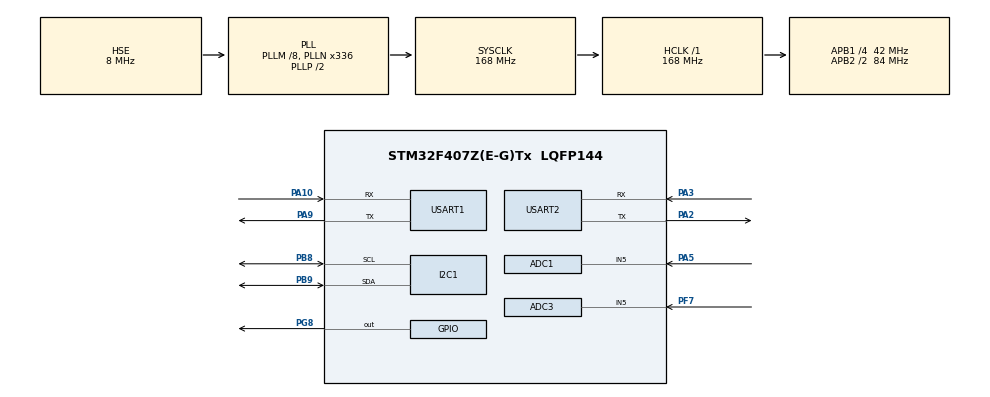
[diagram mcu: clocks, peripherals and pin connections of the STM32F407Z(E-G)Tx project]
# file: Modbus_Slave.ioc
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ADC1.Channel-2\#ChannelRegularConversion=ADC_CHANNEL_5
ADC1.Channel-3\#ChannelRegularConversion=ADC_CHANNEL_5
ADC1.ContinuousConvMode=ENABLE
ADC1.DiscontinuousConvMode=DISABLE
ADC1.NbrOfConversion=2
ADC1.NbrOfConversionFlag=1
ADC1.Rank-2\#ChannelRegularConversion=1
ADC1.Rank-3\#ChannelRegularConversion=2
ADC1.SamplingTime-2\#ChannelRegularConversion=ADC_SAMPLETIME_3CYCLES
ADC1.SamplingTime-3\#ChannelRegularConversion=ADC_SAMPLETIME_3CYCLES
ADC1.master=1
ADC3.Channel-0\#ChannelRegularConversion=ADC_CHANNEL_5
ADC3.ContinuousConvMode=ENABLE
ADC3.NbrOfConversionFlag=1
ADC3.Rank-0\#ChannelRegularConversion=1
ADC3.SamplingTime-0\#ChannelRegularConversion=ADC_SAMPLETIME_480CYCLES
Dma.ADC1.0.Direction=DMA_PERIPH_TO_MEMORY
Dma.ADC1.0.FIFOMode=DMA_FIFOMODE_DISABLE
Dma.ADC1.0.Instance=DMA2_Stream0
Dma.ADC1.0.MemDataAlignment=DMA_MDATAALIGN_WORD
Dma.ADC1.0.MemInc=DMA_MINC_ENABLE
Dma.ADC1.0.Mode=DMA_CIRCULAR
Dma.ADC1.0.PeriphDataAlignment=DMA_PDATAALIGN_WORD
Dma.ADC1.0.PeriphInc=DMA_PINC_DISABLE
Dma.ADC1.0.Priority=DMA_PRIORITY_LOW
Dma.Request0=ADC1
FREERTOS.Tasks01=defaultTask,24,128,StartDefaultTask,Default,NULL,Dynamic,NULL,NULL
I2C1.I2C_Mode=I2C_Fast
Mcu.Family=STM32F4
Mcu.Name=STM32F407Z(E-G)Tx
Mcu.Package=LQFP144
NVIC.DMA2_Stream0_IRQn=true\:5\:0\:false\:false\:true\:true\:false\:true\:true
NVIC.PriorityGroup=NVIC_PRIORITYGROUP_4
NVIC.TIM6_DAC_IRQn=true\:15\:0\:false\:false\:true\:false\:false\:true\:true
NVIC.TimeBase=TIM6_DAC_IRQn
NVIC.TimeBaseIP=TIM6
NVIC.USART1_IRQn=true\:5\:0\:false\:false\:true\:true\:true\:true\:true
NVIC.USART2_IRQn=true\:5\:0\:false\:false\:true\:true\:true\:true\:true
PA10.Mode=Asynchronous
PA10.Signal=USART1_RX
PA2.Mode=Asynchronous
PA2.Signal=USART2_TX
PA3.Mode=Asynchronous
PA3.Signal=USART2_RX
PA5.Signal=ADCx_IN5
PA9.Mode=Asynchronous
PA9.Signal=USART1_TX
PB8.Mode=I2C
PB8.Signal=I2C1_SCL
PB9.Mode=I2C
PB9.Signal=I2C1_SDA
PF7.Mode=IN5
PF7.Signal=ADC3_IN5
PG8.Signal=GPIO_Output
PH0-OSC_IN.Mode=HSE-External-Oscillator
PH0-OSC_IN.Signal=RCC_OSC_IN
PH1-OSC_OUT.Mode=HSE-External-Oscillator
PH1-OSC_OUT.Signal=RCC_OSC_OUT
ProjectManager.HeapSize=0x200
ProjectManager.StackSize=0x400
ProjectManager.TargetToolchain=MDK-ARM V5.32
RCC.48MHZClocksFreq_Value=84000000
RCC.AHBFreq_Value=168000000
RCC.APB1CLKDivider=RCC_HCLK_DIV4
RCC.APB1Freq_Value=42000000
RCC.APB1TimFreq_Value=84000000
RCC.APB2CLKDivider=RCC_HCLK_DIV2
RCC.APB2Freq_Value=84000000
RCC.APB2TimFreq_Value=168000000
RCC.CortexFreq_Value=168000000
RCC.HCLKFreq_Value=168000000
RCC.HSE_VALUE=8000000
RCC.HSI_VALUE=16000000
RCC.LSE_VALUE=32768
RCC.PLLM=8
RCC.PLLN=336
RCC.PLLSourceVirtual=RCC_PLLSOURCE_HSE
RCC.SYSCLKFreq_VALUE=168000000
RCC.SYSCLKSource=RCC_SYSCLKSOURCE_PLLCLK
RCC.VCOOutputFreq_Value=336000000
SH.ADCx_IN5.0=ADC1_IN5,IN5
USART1.VirtualMode=VM_ASYNC
USART2.VirtualMode=VM_ASYNC
VP_ADC1_TempSens_Input.Mode=IN-TempSens
VP_FREERTOS_VS_CMSIS_V2.Mode=CMSIS_V2
VP_SYS_VS_tim6.Mode=TIM6
board=custom

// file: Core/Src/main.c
/* USER CODE BEGIN Header */
/**
  ******************************************************************************
  * @file           : main.c
  * @brief          : Main program body
  ******************************************************************************
  * @attention
  *
  * Copyright (c) 2026 STMicroelectronics.
  * All rights reserved.
  *
  * This software is licensed under terms that can be found in the LICENSE file
  * in the root directory of this software component.
  * If no LICENSE file comes with this software, it is provided AS-IS.
  *
  ******************************************************************************
  */
/* USER CODE END Header */
#include "main.h"
#include "cmsis_os.h"

/* USER CODE BEGIN Includes */
#include "modbus_slave.h"
#include "lcd.h"
#include <stdio.h>
#include "log.h"
#include "../BSP/SDIO/sdio_sdcard.h"
#include "../../Middlewares/FATFS/ff.h"
/* USER CODE END Includes */

/* USER CODE BEGIN PTD */
#define MED_WINDOW  5   /* 中值滤波窗口（奇数） */
#define MA_WINDOW   8   /* 滑动平均窗口 */

typedef struct {
    uint32_t med_buf[MED_WINDOW];   /* 中值滤波缓冲区 */
    uint32_t ma_buf[MA_WINDOW];     /* 滑动平均缓冲区 */
    uint8_t med_idx;
    uint8_t ma_idx;
} FilterChain;                      /* 中值+滑动平均 两级滤波器 */
/* USER CODE END PTD */

ADC_HandleTypeDef hadc1;
ADC_HandleTypeDef hadc3;
DMA_HandleTypeDef hdma_adc1;

I2C_HandleTypeDef hi2c1;

UART_HandleTypeDef huart1;
UART_HandleTypeDef huart2;

/* Definitions for defaultTask */
osThreadId_t defaultTaskHandle;
const osThreadAttr_t defaultTask_attributes = {
  .name = "defaultTask",
  .stack_size = 128 * 4,
  .priority = (osPriority_t) osPriorityNormal,
};
/* USER CODE BEGIN PV */
osThreadId_t logTaskHandle;
const osThreadAttr_t logTask_attributes = {
  .name = "logTask",
  .stack_size = 256 * 4,
  .priority = (osPriority_t) osPriorityLow,
};
uint32_t result[100];
osMutexId_t mbRegsMutex;
FilterChain filt_vol, filt_temp, filt_light;   /* 三路滤波器 */
osThreadId_t collectTaskHandle;
const osThreadAttr_t collectTask_attributes = {
  .name = "collectTask",
  .stack_size = 256 * 4,
  .priority = (osPriority_t) osPriorityNormal,
};
osThreadId_t displayTaskHandle;
const osThreadAttr_t displayTask_attributes = {
  .name = "displayTask",
  .stack_size = 256 * 4,
  .priority = (osPriority_t) osPriorityLow,
};
osThreadId_t modbusTaskHandle;
const osThreadAttr_t modbusTask_attributes = {
  .name = "modbusTask",
  .stack_size = 256 * 4,
  .priority = (osPriority_t) osPriorityAboveNormal,
};
osThreadId_t watchdogTaskHandle;
const osThreadAttr_t watchdogTask_attributes = {
  .name = "watchdogTask",
  .stack_size = 128 * 4,
  .priority = (osPriority_t) osPriorityLow,
};
/* USER CODE END PV */

void SystemClock_Config(void);
static void MX_GPIO_Init(void);
static void MX_DMA_Init(void);
static void MX_USART1_UART_Init(void);
static void MX_ADC1_Init(void);
static void MX_ADC3_Init(void);
static void MX_USART2_UART_Init(void);
static void MX_I2C1_Init(void);
void StartDefaultTask(void *argument);

/* USER CODE BEGIN PFP */

void LogTask(void *argument);
void CollectTask(void *argument);
void DisplayTask(void *argument);
void ModbusTask(void *argument);
void WatchdogTask(void *argument);
/* USER CODE END PFP */

/* USER CODE BEGIN 0 */
/* 中值滤波：冒泡排序取中间值，窗口奇数（防 ADC 偶发跳变） */
static uint32_t Median(uint32_t *buf)
{
    uint32_t tmp[MED_WINDOW];
    uint8_t i, j;
    for (i = 0; i < MED_WINDOW; i++) tmp[i] = buf[i];
    for (i = 0; i < MED_WINDOW - 1; i++)
        for (j = 0; j < MED_WINDOW - 1 - i; j++)
            if (tmp[j] > tmp[j + 1]) {
                uint32_t t = tmp[j]; tmp[j] = tmp[j + 1]; tmp[j + 1] = t;
            }
    return tmp[MED_WINDOW / 2];
}

/* 两级滤波：中值去尖峰 -> 滑动平均平滑 */
uint32_t Filter_Process(FilterChain *f, uint32_t raw)
{
    uint32_t sum = 0;
    uint8_t i;
    f->med_buf[f->med_idx] = raw;
    f->med_idx = (f->med_idx + 1) % MED_WINDOW;
    f->ma_buf[f->ma_idx] = Median(f->med_buf);
    f->ma_idx = (f->ma_idx + 1) % MA_WINDOW;
    for (i = 0; i < MA_WINDOW; i++) sum += f->ma_buf[i];
    return sum / MA_WINDOW;
}

/* 滤波初始化：用初值填满窗口，避免平滑从 0 开始爬升 */
void Filter_Init(FilterChain *f, uint32_t v)
{
    uint8_t i;
    for (i = 0; i < MED_WINDOW; i++) f->med_buf[i] = v;
    for (i = 0; i < MA_WINDOW; i++) f->ma_buf[i] = v;
    f->med_idx = 0;
    f->ma_idx = 0;
}

/* 初始化看门狗 IWDG：直接操作寄存器（不启用 HAL 模块），
   KR=0x5555 解锁写保护 -> 配置PR/重载RLR -> KR=0xCCCC 使能看门狗 -> KR=0xAAAA 喂狗 */
void IWDG_Init(void)
{
    RCC->CSR |= RCC_CSR_LSION;                  /* 使能 LSI(约32kHz) */
    while ((RCC->CSR & RCC_CSR_LSIRDY) == 0) {} /* 等 LSI 就绪 */
    IWDG->KR  = 0x5555;                         /* 解锁写保护 */
    IWDG->PR  = 0x04;                           /* 64分频 -> 500Hz */
    IWDG->RLR = 1250;                           /* 重载 -> 约2.5s超时 */
    IWDG->KR  = 0xCCCC;                         /* 启动看门狗 */
    IWDG->KR  = 0xAAAA;                         /* 先喂一次 */
}

void IWDG_Feed(void)
{
    IWDG->KR = 0xAAAA;   /* 喂狗：写0xAAAA刷新计数器 */
}
/* USER CODE END 0 */

int main(void)
{

  /* MCU Configuration--------------------------------------------------------*/

  /* Reset of all peripherals, Initializes the Flash interface and the Systick. */
  HAL_Init();

  /* Configure the system clock */
  SystemClock_Config();

  /* Initialize all configured peripherals */
  MX_GPIO_Init();
  MX_DMA_Init();
  MX_USART1_UART_Init();
  MX_ADC1_Init();
  MX_ADC3_Init();
  MX_USART2_UART_Init();
  MX_I2C1_Init();
  /* USER CODE BEGIN 2 */
  Modbus_Init();
  HAL_ADC_Start_DMA(&hadc1, (uint32_t*)&result, 100);
  lcd_init();
  lcd_clear(WHITE);
  LOG_INFO("System started\n");
  LOG_DEBUG("Start collecting data\n");

  /* SD card init */
  if (sd_init() == 0)
  {
    LOG_INFO("SD Card OK: %d MB\n", (uint32_t)SD_TOTAL_SIZE_MB(&g_sdcard_handler));
  }
  else
  {
    LOG_ERROR("SD Card Error!\n");
  }

  /* Init log-to-SD: mount SD + open log.txt, after this every log is persisted */
  if (log_fs_init() == 0)
  {
    LOG_INFO("Log to SD card ready\n");
  }
  else
  {
    LOG_ERROR("Log FS init fail\n");
  }

  /* LED test: configure DS0 (PF9) as push-pull output */
  GPIO_InitTypeDef led = {0};
  led.Pin   = GPIO_PIN_9;
  led.Mode  = GPIO_MODE_OUTPUT_PP;
  led.Pull  = GPIO_NOPULL;
  led.Speed = GPIO_SPEED_FREQ_LOW;
  HAL_GPIO_Init(GPIOF, &led);
  /* IWDG_Init();   启动看门狗 IWDG */
  /* USER CODE END 2 */

  /* Init scheduler */
  osKernelInitialize();

  /* USER CODE BEGIN RTOS_MUTEX */
  mbRegsMutex = osMutexNew(NULL);
  /* USER CODE END RTOS_MUTEX */

  /* USER CODE BEGIN RTOS_QUEUES */
  /* add queues, ... */
  log_init();
  /* USER CODE END RTOS_QUEUES */

  /* Create the thread(s) */
  /* creation of defaultTask */
  defaultTaskHandle = osThreadNew(StartDefaultTask, NULL, &defaultTask_attributes);

  /* USER CODE BEGIN RTOS_THREADS */
  collectTaskHandle = osThreadNew(CollectTask, NULL, &collectTask_attributes);
  displayTaskHandle = osThreadNew(DisplayTask, NULL, &displayTask_attributes);
  modbusTaskHandle = osThreadNew(ModbusTask, NULL, &modbusTask_attributes);
  watchdogTaskHandle = osThreadNew(WatchdogTask, NULL, &watchdogTask_attributes);
  logTaskHandle = osThreadNew(LogTask, NULL, &logTask_attributes);
  /* add threads, ... */
  /* USER CODE END RTOS_THREADS */

  /* Start scheduler */
  osKernelStart();

  /* We should never get here as control is now taken by the scheduler */

  /* Infinite loop */
  while (1)
  {

  }
}

void SystemClock_Config(void)
{
  RCC_OscInitTypeDef RCC_OscInitStruct = {0};
  RCC_ClkInitTypeDef RCC_ClkInitStruct = {0};

  /** Configure the main internal regulator output voltage
  */
  __HAL_RCC_PWR_CLK_ENABLE();
  __HAL_PWR_VOLTAGESCALING_CONFIG(PWR_REGULATOR_VOLTAGE_SCALE1);

  /** Initializes the RCC Oscillators according to the specified parameters
  * in the RCC_OscInitTypeDef structure.
  */
  RCC_OscInitStruct.OscillatorType = RCC_OSCILLATORTYPE_HSE;
  RCC_OscInitStruct.HSEState = RCC_HSE_ON;
  RCC_OscInitStruct.PLL.PLLState = RCC_PLL_ON;
  RCC_OscInitStruct.PLL.PLLSource = RCC_PLLSOURCE_HSE;
  RCC_OscInitStruct.PLL.PLLM = 8;
  RCC_OscInitStruct.PLL.PLLN = 336;
  RCC_OscInitStruct.PLL.PLLP = RCC_PLLP_DIV2;
  RCC_OscInitStruct.PLL.PLLQ = 4;
  if (HAL_RCC_OscConfig(&RCC_OscInitStruct) != HAL_OK)
  {
    Error_Handler();
  }

  /** Initializes the CPU, AHB and APB buses clocks
  */
  RCC_ClkInitStruct.ClockType = RCC_CLOCKTYPE_HCLK|RCC_CLOCKTYPE_SYSCLK
                              |RCC_CLOCKTYPE_PCLK1|RCC_CLOCKTYPE_PCLK2;
  RCC_ClkInitStruct.SYSCLKSource = RCC_SYSCLKSOURCE_PLLCLK;
  RCC_ClkInitStruct.AHBCLKDivider = RCC_SYSCLK_DIV1;
  RCC_ClkInitStruct.APB1CLKDivider = RCC_HCLK_DIV4;
  RCC_ClkInitStruct.APB2CLKDivider = RCC_HCLK_DIV2;

  if (HAL_RCC_ClockConfig(&RCC_ClkInitStruct, FLASH_LATENCY_5) != HAL_OK)
  {
    Error_Handler();
  }
}

static void MX_ADC1_Init(void)
{

  ADC_ChannelConfTypeDef sConfig = {0};

  /** Configure the global features of the ADC (Clock, Resolution, Data Alignment and number of conversion)
  */
  hadc1.Instance = ADC1;
  hadc1.Init.ClockPrescaler = ADC_CLOCK_SYNC_PCLK_DIV4;
  hadc1.Init.Resolution = ADC_RESOLUTION_12B;
  hadc1.Init.ScanConvMode = ENABLE;
  hadc1.Init.ContinuousConvMode = ENABLE;
  hadc1.Init.DiscontinuousConvMode = DISABLE;
  hadc1.Init.ExternalTrigConvEdge = ADC_EXTERNALTRIGCONVEDGE_NONE;
  hadc1.Init.ExternalTrigConv = ADC_SOFTWARE_START;
  hadc1.Init.DataAlign = ADC_DATAALIGN_RIGHT;
  hadc1.Init.NbrOfConversion = 2;
  hadc1.Init.DMAContinuousRequests = ENABLE;
  hadc1.Init.EOCSelection = ADC_EOC_SEQ_CONV;
  if (HAL_ADC_Init(&hadc1) != HAL_OK)
  {
    Error_Handler();
  }

  /** Configure for the selected ADC regular channel its corresponding rank in the sequencer and its sample time.
  */
  sConfig.Channel = ADC_CHANNEL_5;
  sConfig.Rank = 1;
  sConfig.SamplingTime = ADC_SAMPLETIME_480CYCLES;
  if (HAL_ADC_ConfigChannel(&hadc1, &sConfig) != HAL_OK)
  {
    Error_Handler();
  }

  /** Configure for the selected ADC regular channel its corresponding rank in the sequencer and its sample time.
  */
  sConfig.Channel = ADC_CHANNEL_TEMPSENSOR;
  sConfig.Rank = 2;
  if (HAL_ADC_ConfigChannel(&hadc1, &sConfig) != HAL_OK)
  {
    Error_Handler();
  }

}

static void MX_ADC3_Init(void)
{

  ADC_ChannelConfTypeDef sConfig = {0};

  /** Configure the global features of the ADC (Clock, Resolution, Data Alignment and number of conversion)
  */
  hadc3.Instance = ADC3;
  hadc3.Init.ClockPrescaler = ADC_CLOCK_SYNC_PCLK_DIV4;
  hadc3.Init.Resolution = ADC_RESOLUTION_12B;
  hadc3.Init.ScanConvMode = DISABLE;
  hadc3.Init.ContinuousConvMode = DISABLE;
  hadc3.Init.DiscontinuousConvMode = DISABLE;
  hadc3.Init.ExternalTrigConvEdge = ADC_EXTERNALTRIGCONVEDGE_NONE;
  hadc3.Init.ExternalTrigConv = ADC_SOFTWARE_START;
  hadc3.Init.DataAlign = ADC_DATAALIGN_RIGHT;
  hadc3.Init.NbrOfConversion = 1;
  hadc3.Init.DMAContinuousRequests = DISABLE;
  hadc3.Init.EOCSelection = ADC_EOC_SINGLE_CONV;
  if (HAL_ADC_Init(&hadc3) != HAL_OK)
  {
    Error_Handler();
  }

  /** Configure for the selected ADC regular channel its corresponding rank in the sequencer and its sample time.
  */
  sConfig.Channel = ADC_CHANNEL_5;
  sConfig.Rank = 1;
  sConfig.SamplingTime = ADC_SAMPLETIME_480CYCLES;
  if (HAL_ADC_ConfigChannel(&hadc3, &sConfig) != HAL_OK)
  {
    Error_Handler();
  }

}

static void MX_I2C1_Init(void)
{

  hi2c1.Instance = I2C1;
  hi2c1.Init.ClockSpeed = 400000;
  hi2c1.Init.DutyCycle = I2C_DUTYCYCLE_2;
  hi2c1.Init.OwnAddress1 = 0;
  hi2c1.Init.AddressingMode = I2C_ADDRESSINGMODE_7BIT;
  hi2c1.Init.DualAddressMode = I2C_DUALADDRESS_DISABLE;
  hi2c1.Init.OwnAddress2 = 0;
  hi2c1.Init.GeneralCallMode = I2C_GENERALCALL_DISABLE;
  hi2c1.Init.NoStretchMode = I2C_NOSTRETCH_DISABLE;
  if (HAL_I2C_Init(&hi2c1) != HAL_OK)
  {
    Error_Handler();
  }

}

static void MX_USART1_UART_Init(void)
{

  huart1.Instance = USART1;
  huart1.Init.BaudRate = 115200;
  huart1.Init.WordLength = UART_WORDLENGTH_8B;
  huart1.Init.StopBits = UART_STOPBITS_1;
  huart1.Init.Parity = UART_PARITY_NONE;
  huart1.Init.Mode = UART_MODE_TX_RX;
  huart1.Init.HwFlowCtl = UART_HWCONTROL_NONE;
  huart1.Init.OverSampling = UART_OVERSAMPLING_16;
  if (HAL_UART_Init(&huart1) != HAL_OK)
  {
    Error_Handler();
  }

}

static void MX_USART2_UART_Init(void)
{

  huart2.Instance = USART2;
  huart2.Init.BaudRate = 115200;
  huart2.Init.WordLength = UART_WORDLENGTH_8B;
  huart2.Init.StopBits = UART_STOPBITS_1;
  huart2.Init.Parity = UART_PARITY_NONE;
  huart2.Init.Mode = UART_MODE_TX_RX;
  huart2.Init.HwFlowCtl = UART_HWCONTROL_NONE;
  huart2.Init.OverSampling = UART_OVERSAMPLING_16;
  if (HAL_UART_Init(&huart2) != HAL_OK)
  {
    Error_Handler();
  }

}

static void MX_DMA_Init(void)
{

  /* DMA controller clock enable */
  __HAL_RCC_DMA2_CLK_ENABLE();

  /* DMA interrupt init */
  /* DMA2_Stream0_IRQn interrupt configuration */
  HAL_NVIC_SetPriority(DMA2_Stream0_IRQn, 5, 0);
  HAL_NVIC_EnableIRQ(DMA2_Stream0_IRQn);

}

static void MX_GPIO_Init(void)
{
  GPIO_InitTypeDef GPIO_InitStruct = {0};

  /* GPIO Ports Clock Enable */
  __HAL_RCC_GPIOF_CLK_ENABLE();
  __HAL_RCC_GPIOH_CLK_ENABLE();
  __HAL_RCC_GPIOA_CLK_ENABLE();
  __HAL_RCC_GPIOG_CLK_ENABLE();
  __HAL_RCC_GPIOB_CLK_ENABLE();

  /*Configure GPIO pin Output Level */
  HAL_GPIO_WritePin(GPIOG, GPIO_PIN_8, GPIO_PIN_RESET);

  /*Configure GPIO pin : PG8 */
  GPIO_InitStruct.Pin = GPIO_PIN_8;
  GPIO_InitStruct.Mode = GPIO_MODE_OUTPUT_PP;
  GPIO_InitStruct.Pull = GPIO_NOPULL;
  GPIO_InitStruct.Speed = GPIO_SPEED_FREQ_LOW;
  HAL_GPIO_Init(GPIOG, &GPIO_InitStruct);

}

/* USER CODE BEGIN 4 */
int fputc(int ch, FILE *f)
{
  HAL_UART_Transmit(&huart1, (uint8_t *)&ch, 1, 0xFFFF);
  return ch;
}
void HAL_UARTEx_RxEventCallback(UART_HandleTypeDef *huart, uint16_t Size)
  {
    Modbus_RxCpltCallback(huart, Size);
  }
void CollectTask(void *argument)
{
  static uint8_t first = 1;       /* first-sample flag for filter window init */
  uint32_t value = 0, value2 = 0; /* voltage/temp 50-point average */
  float voltage, temperature;
  uint32_t light_raw;
  int i;

  for(;;)
  {
    /* voltage/temp: average ADC1 DMA result[] (even index = volt, odd = temp) */
    value = 0; value2 = 0;
    for (i = 0; i < 100; )
    {
      value  += result[i++];
      value2 += result[i++];
    }
    value  /= 50;
    value2 /= 50;
    voltage     = value  * 3.3f / 4096.0f;
    temperature = (value2 * 3.3f / 4096.0f - 0.76f) / 0.0025f + 25.0f;

    /* light: single conversion, trigger + poll + read each loop */
    HAL_ADC_Start(&hadc3);
    HAL_ADC_PollForConversion(&hadc3, 10);
    light_raw = 100 - HAL_ADC_GetValue(&hadc3) * 100 / 4096;
    HAL_ADC_Stop(&hadc3);

    /* fill filter window with first real sample to avoid ramping from 0 */
    if (first)
    {
      Filter_Init(&filt_vol,   (uint32_t)(voltage * 100.0f));
      Filter_Init(&filt_temp,  (uint32_t)(temperature * 10.0f));
      Filter_Init(&filt_light, light_raw);
      first = 0;
    }

    /* two-stage filter then write shared regs under lock */
    osMutexAcquire(mbRegsMutex, osWaitForever);
    mb_holding_regs[0] = (uint16_t)Filter_Process(&filt_vol,   (uint32_t)(voltage * 100.0f));
    mb_holding_regs[1] = (uint16_t)Filter_Process(&filt_temp,  (uint32_t)(temperature * 10.0f));
    mb_holding_regs[2] = (uint16_t)Filter_Process(&filt_light, light_raw);
    osMutexRelease(mbRegsMutex);

    osDelay(100);
  }
}

void DisplayTask(void *argument)
{
  char buf[64];

  for(;;)
  {
    osMutexAcquire(mbRegsMutex, osWaitForever);

    sprintf(buf, "Vol  :%d.%02dV ", mb_holding_regs[0] / 100, mb_holding_regs[0] % 100);
    lcd_show_string(30, 40, 240, 24, 24, buf, BLUE);

    sprintf(buf, "Temp :%d.%01dC ", mb_holding_regs[1] / 10, mb_holding_regs[1] % 10);
    lcd_show_string(30, 90, 240, 24, 24, buf, BLUE);

    sprintf(buf, "Light:%d%%    ", mb_holding_regs[2]);
    lcd_show_string(30, 140, 240, 24, 24, buf, BLUE);

    osMutexRelease(mbRegsMutex);
    osDelay(100);
  }
}

void ModbusTask(void *argument)
{
  for(;;)
  {
    osMutexAcquire(mbRegsMutex, osWaitForever);
    Modbus_Process();
    osMutexRelease(mbRegsMutex);
    osDelay(1);
  }
}

void WatchdogTask(void *argument)
{
  /* IWDG_Init();   uncomment for release; keep disabled while debugging */
  for(;;)
  {
    IWDG_Feed();
    osDelay(50);
  }
}

/* USER CODE END 4 */

void StartDefaultTask(void *argument)
{
  /* USER CODE BEGIN 5 */
  /* Infinite loop */
  for(;;)
  {
    HAL_GPIO_TogglePin(GPIOF, GPIO_PIN_9);  /* 翻转灯：系统心跳指示 */
    osDelay(500);
  }
  /* USER CODE END 5 */
}

void HAL_TIM_PeriodElapsedCallback(TIM_HandleTypeDef *htim)
{
  if (htim->Instance == TIM6)
  {
    HAL_IncTick();
  }
}

void Error_Handler(void)
{
  __disable_irq();
  while (1)
  {
  }
}
